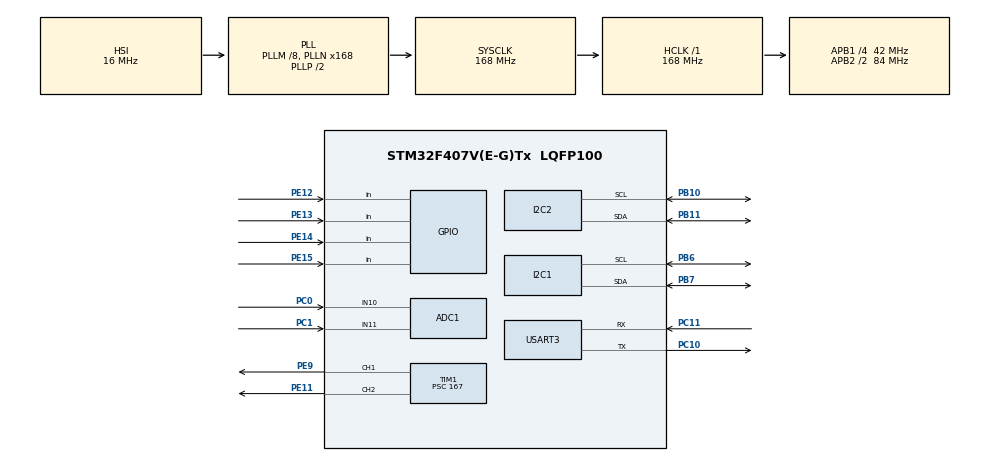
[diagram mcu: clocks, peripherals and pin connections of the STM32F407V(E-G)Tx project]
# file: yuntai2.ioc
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ADC1.Channel-0\#ChannelRegularConversion=ADC_CHANNEL_10
ADC1.Channel-1\#ChannelRegularConversion=ADC_CHANNEL_11
ADC1.NbrOfConversion=2
ADC1.NbrOfConversionFlag=1
ADC1.Rank-0\#ChannelRegularConversion=1
ADC1.Rank-1\#ChannelRegularConversion=2
ADC1.SamplingTime-0\#ChannelRegularConversion=ADC_SAMPLETIME_84CYCLES
ADC1.SamplingTime-1\#ChannelRegularConversion=ADC_SAMPLETIME_84CYCLES
ADC1.ScanConvMode=ENABLE
ADC1.master=1
I2C2.I2C_Mode=I2C_Fast
Mcu.Family=STM32F4
Mcu.Name=STM32F407V(E-G)Tx
Mcu.Package=LQFP100
NVIC.PriorityGroup=NVIC_PRIORITYGROUP_4
NVIC.TIM6_DAC_IRQn=true\:0\:0\:false\:false\:true\:true\:true\:true
NVIC.USART3_IRQn=true\:0\:0\:false\:false\:true\:true\:true\:true
PA13.Mode=Serial_Wire
PA13.Signal=SYS_JTMS-SWDIO
PA14.Mode=Serial_Wire
PA14.Signal=SYS_JTCK-SWCLK
PB10.Mode=I2C
PB10.Signal=I2C2_SCL
PB11.Mode=I2C
PB11.Signal=I2C2_SDA
PB6.Mode=I2C
PB6.Signal=I2C1_SCL
PB7.Mode=I2C
PB7.Signal=I2C1_SDA
PC0.Signal=ADCx_IN10
PC1.Signal=ADCx_IN11
PC10.Mode=Asynchronous
PC10.Signal=USART3_TX
PC11.Mode=Asynchronous
PC11.Signal=USART3_RX
PE11.Signal=S_TIM1_CH2
PE12.GPIO_PuPd=GPIO_PULLDOWN
PE12.Signal=GPIO_Input
PE13.GPIO_PuPd=GPIO_PULLDOWN
PE13.Signal=GPIO_Input
PE14.GPIO_PuPd=GPIO_PULLDOWN
PE14.Signal=GPIO_Input
PE15.GPIO_PuPd=GPIO_PULLDOWN
PE15.Signal=GPIO_Input
PE9.Signal=S_TIM1_CH1
PH0-OSC_IN.Mode=HSE-External-Oscillator
PH0-OSC_IN.Signal=RCC_OSC_IN
PH1-OSC_OUT.Mode=HSE-External-Oscillator
PH1-OSC_OUT.Signal=RCC_OSC_OUT
ProjectManager.HeapSize=0x200
ProjectManager.StackSize=0x400
ProjectManager.TargetToolchain=CMake
RCC.48MHZClocksFreq_Value=84000000
RCC.AHBFreq_Value=168000000
RCC.APB1CLKDivider=RCC_HCLK_DIV4
RCC.APB1Freq_Value=42000000
RCC.APB1TimFreq_Value=84000000
RCC.APB2CLKDivider=RCC_HCLK_DIV2
RCC.APB2Freq_Value=84000000
RCC.APB2TimFreq_Value=168000000
RCC.CortexFreq_Value=168000000
RCC.HCLKFreq_Value=168000000
RCC.HSE_VALUE=25000000
RCC.HSI_VALUE=16000000
RCC.LSE_VALUE=32768
RCC.PLLM=8
RCC.PLLN=168
RCC.SYSCLKFreq_VALUE=168000000
RCC.SYSCLKSource=RCC_SYSCLKSOURCE_PLLCLK
RCC.VCOOutputFreq_Value=336000000
SH.ADCx_IN10.0=ADC1_IN10,IN10
SH.ADCx_IN11.0=ADC1_IN11,IN11
SH.S_TIM1_CH1.0=TIM1_CH1,PWM Generation1 CH1
SH.S_TIM1_CH2.0=TIM1_CH2,PWM Generation2 CH2
TIM1.Channel-PWM\ Generation1\ CH1=TIM_CHANNEL_1
TIM1.Channel-PWM\ Generation2\ CH2=TIM_CHANNEL_2
TIM1.Period=19999
TIM1.Prescaler=167
TIM1.Pulse-PWM\ Generation1\ CH1=1500
TIM1.Pulse-PWM\ Generation2\ CH2=1500
TIM6.Period=99
TIM6.Prescaler=8399
USART3.VirtualMode=VM_ASYNC
VP_TIM6_VS_ClockSourceINT.Mode=Enable_Timer
board=custom

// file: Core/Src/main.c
/* USER CODE BEGIN Header */
/**
  ******************************************************************************
  * @file           : main.c
  * @brief          : Main program body
  ******************************************************************************
  * @attention
  *
  * Copyright (c) 2026 STMicroelectronics.
  * All rights reserved.
  *
  * This software is licensed under terms that can be found in the LICENSE file
  * in the root directory of this software component.
  * If no LICENSE file comes with this software, it is provided AS-IS.
  *
  ******************************************************************************
  */
/* USER CODE END Header */
#include "main.h"
#include "adc.h"
#include "i2c.h"
#include "tim.h"
#include "usart.h"
#include "gpio.h"

/* USER CODE BEGIN Includes */
#include "adc_input.h"
#include "bt_link.h"
#include "display.h"
#include "gimbal_app.h"
#include "key.h"
#include "mpu6050_app.h"
#include "scheduler.h"
#include "servo_app.h"

/* USER CODE END Includes */

/* USER CODE BEGIN PD */
/* One full OLED frame costs about 24 ms on I2C2 @400 kHz, so refresh the
   display every 20 scheduler ticks (200 ms) to keep the 10 ms control loop
   free. Raise this value if the motion still stutters. */
#define DISPLAY_REFRESH_TICKS 20U
/* USER CODE END PD */

void SystemClock_Config(void);

int main(void)
{

  /* MCU Configuration--------------------------------------------------------*/

  /* Reset of all peripherals, Initializes the Flash interface and the Systick. */
  HAL_Init();

  /* Configure the system clock */
  SystemClock_Config();

  /* Initialize all configured peripherals */
  MX_GPIO_Init();
  MX_ADC1_Init();
  MX_I2C1_Init();
  MX_I2C2_Init();
  MX_TIM6_Init();
  MX_USART3_UART_Init();
  MX_TIM1_Init();
  /* USER CODE BEGIN 2 */
  ADC_InputData adc_data = {0};
  const MPU6050_AppState *mpu_state;
  uint32_t consumed_tick;

  KEY_Init();
  /* Give the OLED module time to power up before sending init commands. */
  HAL_Delay(100U);
  Display_Init();
  (void)MPU6050_App_Init();
  /* Start TIM1 CH1/CH2 PWM only after the MPU calibration, so servo motion
     cannot disturb the gyro bias measurement. */
  if (Servo_Init() != HAL_OK)
  {
    Error_Handler();
  }
  BtLink_Init();
  Gimbal_Init();
  if (Scheduler_Start() != HAL_OK)
  {
    Error_Handler();
  }
  consumed_tick = Scheduler_GetTick();

  /* USER CODE END 2 */

  /* Infinite loop */
  /* USER CODE BEGIN WHILE */
  while (1)
  {
    while (consumed_tick != Scheduler_GetTick())
    {
      consumed_tick++;
      /* Scan keys at the scheduler rate so debounce timing is deterministic. */
      KEY_Scan();
      (void)ADC_Input_Update();
      (void)MPU6050_App_Update();

      /* Fetch the latest sensor values every tick so the control loop runs
         at a true 100 Hz regardless of the OLED refresh cost. */
      ADC_Input_Get(&adc_data);
      mpu_state = MPU6050_App_GetState();

      /* Mode switch, target pulse, local servo output and Bluetooth frame. */
      Gimbal_Update(&adc_data, mpu_state);

      if ((consumed_tick % DISPLAY_REFRESH_TICKS) == 0U)
      {
        Display_Update(&adc_data, mpu_state);
      }
    }
    /* USER CODE END WHILE */

  }
}

void SystemClock_Config(void)
{
  RCC_OscInitTypeDef RCC_OscInitStruct = {0};
  RCC_ClkInitTypeDef RCC_ClkInitStruct = {0};

  /** Configure the main internal regulator output voltage
  */
  __HAL_RCC_PWR_CLK_ENABLE();
  __HAL_PWR_VOLTAGESCALING_CONFIG(PWR_REGULATOR_VOLTAGE_SCALE1);

  /** Initializes the RCC Oscillators according to the specified parameters
  * in the RCC_OscInitTypeDef structure.
  */
  RCC_OscInitStruct.OscillatorType = RCC_OSCILLATORTYPE_HSI;
  RCC_OscInitStruct.HSIState = RCC_HSI_ON;
  RCC_OscInitStruct.HSICalibrationValue = RCC_HSICALIBRATION_DEFAULT;
  RCC_OscInitStruct.PLL.PLLState = RCC_PLL_ON;
  RCC_OscInitStruct.PLL.PLLSource = RCC_PLLSOURCE_HSI;
  RCC_OscInitStruct.PLL.PLLM = 8;
  RCC_OscInitStruct.PLL.PLLN = 168;
  RCC_OscInitStruct.PLL.PLLP = RCC_PLLP_DIV2;
  RCC_OscInitStruct.PLL.PLLQ = 4;
  if (HAL_RCC_OscConfig(&RCC_OscInitStruct) != HAL_OK)
  {
    Error_Handler();
  }

  /** Initializes the CPU, AHB and APB buses clocks
  */
  RCC_ClkInitStruct.ClockType = RCC_CLOCKTYPE_HCLK|RCC_CLOCKTYPE_SYSCLK
                              |RCC_CLOCKTYPE_PCLK1|RCC_CLOCKTYPE_PCLK2;
  RCC_ClkInitStruct.SYSCLKSource = RCC_SYSCLKSOURCE_PLLCLK;
  RCC_ClkInitStruct.AHBCLKDivider = RCC_SYSCLK_DIV1;
  RCC_ClkInitStruct.APB1CLKDivider = RCC_HCLK_DIV4;
  RCC_ClkInitStruct.APB2CLKDivider = RCC_HCLK_DIV2;

  if (HAL_RCC_ClockConfig(&RCC_ClkInitStruct, FLASH_LATENCY_5) != HAL_OK)
  {
    Error_Handler();
  }
}

void Error_Handler(void)
{
  __disable_irq();
  while (1)
  {
  }
}
